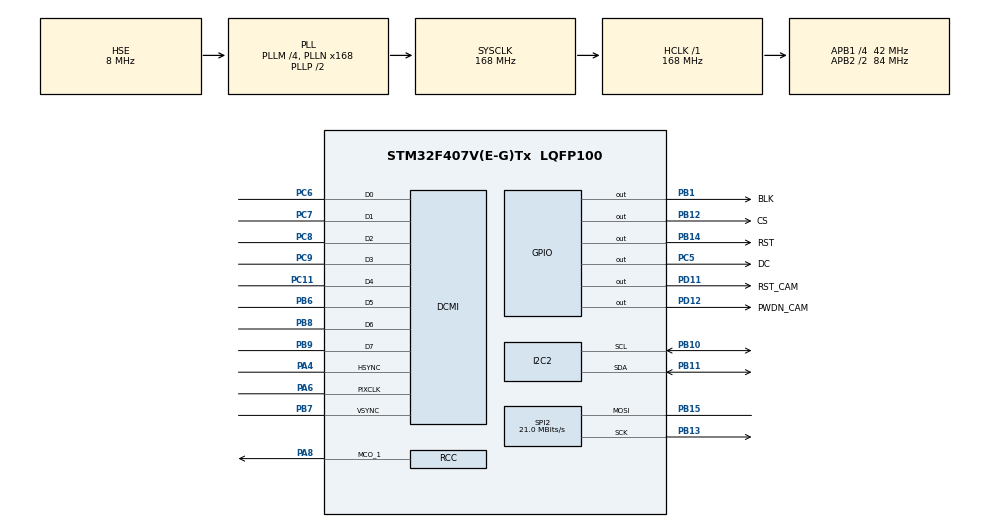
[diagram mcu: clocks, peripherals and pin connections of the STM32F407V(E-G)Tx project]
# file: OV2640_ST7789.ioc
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DCMI.PCKPolarity=DCMI_PCKPOLARITY_RISING
Dma.DCMI.0.Direction=DMA_PERIPH_TO_MEMORY
Dma.DCMI.0.FIFOMode=DMA_FIFOMODE_DISABLE
Dma.DCMI.0.Instance=DMA2_Stream1
Dma.DCMI.0.MemDataAlignment=DMA_MDATAALIGN_WORD
Dma.DCMI.0.MemInc=DMA_MINC_ENABLE
Dma.DCMI.0.Mode=DMA_NORMAL
Dma.DCMI.0.PeriphDataAlignment=DMA_PDATAALIGN_WORD
Dma.DCMI.0.PeriphInc=DMA_PINC_DISABLE
Dma.DCMI.0.Priority=DMA_PRIORITY_LOW
Dma.Request0=DCMI
Mcu.Family=STM32F4
Mcu.Name=STM32F407V(E-G)Tx
Mcu.Package=LQFP100
NVIC.DCMI_IRQn=true\:0\:0\:false\:false\:true\:true\:true\:true
NVIC.DMA2_Stream1_IRQn=true\:0\:0\:false\:false\:true\:false\:true\:true
NVIC.PriorityGroup=NVIC_PRIORITYGROUP_4
PA13.Mode=Serial_Wire
PA13.Signal=SYS_JTMS-SWDIO
PA14.Mode=Serial_Wire
PA14.Signal=SYS_JTCK-SWCLK
PA4.GPIO_PuPd=GPIO_PULLUP
PA4.GPIO_Speed=GPIO_SPEED_FREQ_VERY_HIGH
PA4.Mode=Slave_8_bits_External_Synchro
PA4.Signal=DCMI_HSYNC
PA6.GPIO_PuPd=GPIO_PULLUP
PA6.GPIO_Speed=GPIO_SPEED_FREQ_VERY_HIGH
PA6.Mode=Slave_8_bits_External_Synchro
PA6.Signal=DCMI_PIXCLK
PA8.GPIO_Speed=GPIO_SPEED_FREQ_VERY_HIGH
PA8.Mode=Clock-out-1
PA8.Signal=RCC_MCO_1
PB1.GPIO_Label=BLK
PB1.GPIO_Speed=GPIO_SPEED_FREQ_VERY_HIGH
PB1.PinState=GPIO_PIN_SET
PB1.Signal=GPIO_Output
PB10.GPIO_Pu=GPIO_PULLUP
PB10.Mode=I2C
PB10.Signal=I2C2_SCL
PB11.GPIO_Pu=GPIO_PULLUP
PB11.Mode=I2C
PB11.Signal=I2C2_SDA
PB12.GPIO_Label=CS
PB12.GPIO_Speed=GPIO_SPEED_FREQ_VERY_HIGH
PB12.PinState=GPIO_PIN_SET
PB12.Signal=GPIO_Output
PB13.Mode=Simplex_Bidirectional_Master
PB13.Signal=SPI2_SCK
PB14.GPIO_Label=RST
PB14.GPIO_Speed=GPIO_SPEED_FREQ_VERY_HIGH
PB14.Signal=GPIO_Output
PB15.Mode=Simplex_Bidirectional_Master
PB15.Signal=SPI2_MOSI
PB6.GPIO_PuPd=GPIO_PULLUP
PB6.GPIO_Speed=GPIO_SPEED_FREQ_VERY_HIGH
PB6.Mode=Slave_8_bits_External_Synchro
PB6.Signal=DCMI_D5
PB7.GPIO_PuPd=GPIO_PULLUP
PB7.GPIO_Speed=GPIO_SPEED_FREQ_VERY_HIGH
PB7.Mode=Slave_8_bits_External_Synchro
PB7.Signal=DCMI_VSYNC
PB8.GPIO_PuPd=GPIO_PULLUP
PB8.GPIO_Speed=GPIO_SPEED_FREQ_VERY_HIGH
PB8.Mode=Slave_8_bits_External_Synchro
PB8.Signal=DCMI_D6
PB9.GPIO_PuPd=GPIO_PULLUP
PB9.GPIO_Speed=GPIO_SPEED_FREQ_VERY_HIGH
PB9.Mode=Slave_8_bits_External_Synchro
PB9.Signal=DCMI_D7
PC11.GPIO_PuPd=GPIO_PULLUP
PC11.GPIO_Speed=GPIO_SPEED_FREQ_VERY_HIGH
PC11.Mode=Slave_8_bits_External_Synchro
PC11.Signal=DCMI_D4
PC5.GPIO_Label=DC
PC5.GPIO_Speed=GPIO_SPEED_FREQ_VERY_HIGH
PC5.Signal=GPIO_Output
PC6.GPIO_PuPd=GPIO_PULLUP
PC6.GPIO_Speed=GPIO_SPEED_FREQ_VERY_HIGH
PC6.Mode=Slave_8_bits_External_Synchro
PC6.Signal=DCMI_D0
PC7.GPIO_PuPd=GPIO_PULLUP
PC7.GPIO_Speed=GPIO_SPEED_FREQ_VERY_HIGH
PC7.Mode=Slave_8_bits_External_Synchro
PC7.Signal=DCMI_D1
PC8.GPIO_PuPd=GPIO_PULLUP
PC8.GPIO_Speed=GPIO_SPEED_FREQ_VERY_HIGH
PC8.Mode=Slave_8_bits_External_Synchro
PC8.Signal=DCMI_D2
PC9.GPIO_PuPd=GPIO_PULLUP
PC9.GPIO_Speed=GPIO_SPEED_FREQ_VERY_HIGH
PC9.Mode=Slave_8_bits_External_Synchro
PC9.Signal=DCMI_D3
PD11.GPIO_Label=RST_CAM
PD11.GPIO_PuPd=GPIO_PULLUP
PD11.GPIO_Speed=GPIO_SPEED_FREQ_VERY_HIGH
PD11.PinState=GPIO_PIN_SET
PD11.Signal=GPIO_Output
PD12.GPIO_Label=PWDN_CAM
PD12.GPIO_Speed=GPIO_SPEED_FREQ_VERY_HIGH
PD12.PinState=GPIO_PIN_SET
PD12.Signal=GPIO_Output
PH0-OSC_IN.Mode=HSE-External-Oscillator
PH0-OSC_IN.Signal=RCC_OSC_IN
PH1-OSC_OUT.Mode=HSE-External-Oscillator
PH1-OSC_OUT.Signal=RCC_OSC_OUT
ProjectManager.HeapSize=0x200
ProjectManager.StackSize=0x400
ProjectManager.TargetToolchain=STM32CubeIDE
RCC.48MHZClocksFreq_Value=84000000
RCC.AHBFreq_Value=168000000
RCC.APB1CLKDivider=RCC_HCLK_DIV4
RCC.APB1Freq_Value=42000000
RCC.APB1TimFreq_Value=84000000
RCC.APB2CLKDivider=RCC_HCLK_DIV2
RCC.APB2Freq_Value=84000000
RCC.APB2TimFreq_Value=168000000
RCC.CortexFreq_Value=168000000
RCC.HCLKFreq_Value=168000000
RCC.HSE_VALUE=8000000
RCC.HSI_VALUE=16000000
RCC.LSE_VALUE=32768
RCC.PLLM=4
RCC.PLLN=168
RCC.PLLSourceVirtual=RCC_PLLSOURCE_HSE
RCC.RCC_MCO1Source=RCC_MCO1SOURCE_PLLCLK
RCC.RCC_MCODiv1=RCC_MCODIV_4
RCC.SYSCLKFreq_VALUE=168000000
RCC.SYSCLKSource=RCC_SYSCLKSOURCE_PLLCLK
RCC.VCOOutputFreq_Value=336000000
SPI2.BaudRatePrescaler=SPI_BAUDRATEPRESCALER_2
SPI2.CLKPhase=SPI_PHASE_2EDGE
SPI2.CLKPolarity=SPI_POLARITY_HIGH
SPI2.CalculateBaudRate=21.0 MBits/s
SPI2.Direction=SPI_DIRECTION_1LINE
SPI2.Mode=SPI_MODE_MASTER
SPI2.VirtualType=VM_MASTER
board=custom

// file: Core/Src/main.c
/* USER CODE BEGIN Header */
/**
  ******************************************************************************
  * @file           : main.c
  * @brief          : Main program body
  ******************************************************************************
  * @attention
  *
  * Copyright (c) 2025 STMicroelectronics.
  * All rights reserved.
  *
  * This software is licensed under terms that can be found in the LICENSE file
  * in the root directory of this software component.
  * If no LICENSE file comes with this software, it is provided AS-IS.
  *
  ******************************************************************************
  */
/* USER CODE END Header */
#include "main.h"

/* USER CODE BEGIN Includes */
#include "stdio.h"
#include "Anglas_ST7789.h"
#include "fonts.h"
#include "math.h"
#include "bitmap.h"

#include "common.h"
#include "ov2640.h"
/* USER CODE END Includes */

/* USER CODE BEGIN PD */
#define MAX_PICTURE_BUFF 54400  //320x170
uint16_t pBuffer[MAX_PICTURE_BUFF];
/* USER CODE END PD */

DCMI_HandleTypeDef hdcmi;
DMA_HandleTypeDef hdma_dcmi;

I2C_HandleTypeDef hi2c2;

SPI_HandleTypeDef hspi2;

/* USER CODE BEGIN PV */
uint16_t contInt=0;
float contFloat=0.0;
char buff[32];
/* USER CODE END PV */

void SystemClock_Config(void);
static void MX_GPIO_Init(void);
static void MX_DMA_Init(void);
static void MX_SPI2_Init(void);
static void MX_DCMI_Init(void);
static void MX_I2C2_Init(void);

int main(void)
{

  /* MCU Configuration--------------------------------------------------------*/

  /* Reset of all peripherals, Initializes the Flash interface and the Systick. */
  HAL_Init();

  /* Configure the system clock */
  SystemClock_Config();

  /* Initialize all configured peripherals */
  MX_GPIO_Init();
  MX_DMA_Init();
  MX_SPI2_Init();
  MX_DCMI_Init();
  MX_I2C2_Init();
  /* USER CODE BEGIN 2 */

  ST7789_Init();
  ST7789_rotation(4);
  ST7789_DrawImage(0, 0, 320, 170, blink_320x170);
  HAL_Delay(2000);
  ST7789_FillScreen(ST7789_BLACK);
  ST7789_print(20, 20, RGB565(255, 255, 255) , RGB565(0, 80, 100) , 1, &Font_16x26, 1, "GIOVANNY ANGLAS" );
  ST7789_print(40, 60, RGB565(255, 0, 0) , RGB565(0, 10, 100) , 1, &Font_16x26, 1, "CAMARA OV2640" );
  ov2640_Init(0x60, CAMERA_Monitor);
  HAL_Delay(2000);

  /* USER CODE END 2 */

  /* Infinite loop */
  /* USER CODE BEGIN WHILE */
  while (1)
  {
	    HAL_DCMI_Start_DMA(&hdcmi, DCMI_MODE_SNAPSHOT, (uint32_t)pBuffer, MAX_PICTURE_BUFF/2);
	    while (HAL_DCMI_GetState(&hdcmi) != HAL_DCMI_STATE_READY);
	    ST7789_DrawImage(0, 0, 320, 170, pBuffer);

    /* USER CODE END WHILE */

  }
}

void SystemClock_Config(void)
{
  RCC_OscInitTypeDef RCC_OscInitStruct = {0};
  RCC_ClkInitTypeDef RCC_ClkInitStruct = {0};

  /** Configure the main internal regulator output voltage
  */
  __HAL_RCC_PWR_CLK_ENABLE();
  __HAL_PWR_VOLTAGESCALING_CONFIG(PWR_REGULATOR_VOLTAGE_SCALE1);

  /** Initializes the RCC Oscillators according to the specified parameters
  * in the RCC_OscInitTypeDef structure.
  */
  RCC_OscInitStruct.OscillatorType = RCC_OSCILLATORTYPE_HSE;
  RCC_OscInitStruct.HSEState = RCC_HSE_ON;
  RCC_OscInitStruct.PLL.PLLState = RCC_PLL_ON;
  RCC_OscInitStruct.PLL.PLLSource = RCC_PLLSOURCE_HSE;
  RCC_OscInitStruct.PLL.PLLM = 4;
  RCC_OscInitStruct.PLL.PLLN = 168;
  RCC_OscInitStruct.PLL.PLLP = RCC_PLLP_DIV2;
  RCC_OscInitStruct.PLL.PLLQ = 4;
  if (HAL_RCC_OscConfig(&RCC_OscInitStruct) != HAL_OK)
  {
    Error_Handler();
  }

  /** Initializes the CPU, AHB and APB buses clocks
  */
  RCC_ClkInitStruct.ClockType = RCC_CLOCKTYPE_HCLK|RCC_CLOCKTYPE_SYSCLK
                              |RCC_CLOCKTYPE_PCLK1|RCC_CLOCKTYPE_PCLK2;
  RCC_ClkInitStruct.SYSCLKSource = RCC_SYSCLKSOURCE_PLLCLK;
  RCC_ClkInitStruct.AHBCLKDivider = RCC_SYSCLK_DIV1;
  RCC_ClkInitStruct.APB1CLKDivider = RCC_HCLK_DIV4;
  RCC_ClkInitStruct.APB2CLKDivider = RCC_HCLK_DIV2;

  if (HAL_RCC_ClockConfig(&RCC_ClkInitStruct, FLASH_LATENCY_5) != HAL_OK)
  {
    Error_Handler();
  }
  HAL_RCC_MCOConfig(RCC_MCO1, RCC_MCO1SOURCE_PLLCLK, RCC_MCODIV_4);
}

static void MX_DCMI_Init(void)
{

  hdcmi.Instance = DCMI;
  hdcmi.Init.SynchroMode = DCMI_SYNCHRO_HARDWARE;
  hdcmi.Init.PCKPolarity = DCMI_PCKPOLARITY_RISING;
  hdcmi.Init.VSPolarity = DCMI_VSPOLARITY_LOW;
  hdcmi.Init.HSPolarity = DCMI_HSPOLARITY_LOW;
  hdcmi.Init.CaptureRate = DCMI_CR_ALL_FRAME;
  hdcmi.Init.ExtendedDataMode = DCMI_EXTEND_DATA_8B;
  hdcmi.Init.JPEGMode = DCMI_JPEG_DISABLE;
  if (HAL_DCMI_Init(&hdcmi) != HAL_OK)
  {
    Error_Handler();
  }

}

static void MX_I2C2_Init(void)
{

  hi2c2.Instance = I2C2;
  hi2c2.Init.ClockSpeed = 100000;
  hi2c2.Init.DutyCycle = I2C_DUTYCYCLE_2;
  hi2c2.Init.OwnAddress1 = 0;
  hi2c2.Init.AddressingMode = I2C_ADDRESSINGMODE_7BIT;
  hi2c2.Init.DualAddressMode = I2C_DUALADDRESS_DISABLE;
  hi2c2.Init.OwnAddress2 = 0;
  hi2c2.Init.GeneralCallMode = I2C_GENERALCALL_DISABLE;
  hi2c2.Init.NoStretchMode = I2C_NOSTRETCH_DISABLE;
  if (HAL_I2C_Init(&hi2c2) != HAL_OK)
  {
    Error_Handler();
  }

}

static void MX_SPI2_Init(void)
{

  /* SPI2 parameter configuration*/
  hspi2.Instance = SPI2;
  hspi2.Init.Mode = SPI_MODE_MASTER;
  hspi2.Init.Direction = SPI_DIRECTION_1LINE;
  hspi2.Init.DataSize = SPI_DATASIZE_8BIT;
  hspi2.Init.CLKPolarity = SPI_POLARITY_HIGH;
  hspi2.Init.CLKPhase = SPI_PHASE_2EDGE;
  hspi2.Init.NSS = SPI_NSS_SOFT;
  hspi2.Init.BaudRatePrescaler = SPI_BAUDRATEPRESCALER_2;
  hspi2.Init.FirstBit = SPI_FIRSTBIT_MSB;
  hspi2.Init.TIMode = SPI_TIMODE_DISABLE;
  hspi2.Init.CRCCalculation = SPI_CRCCALCULATION_DISABLE;
  hspi2.Init.CRCPolynomial = 10;
  if (HAL_SPI_Init(&hspi2) != HAL_OK)
  {
    Error_Handler();
  }

}

static void MX_DMA_Init(void)
{

  /* DMA controller clock enable */
  __HAL_RCC_DMA2_CLK_ENABLE();

  /* DMA interrupt init */
  /* DMA2_Stream1_IRQn interrupt configuration */
  HAL_NVIC_SetPriority(DMA2_Stream1_IRQn, 0, 0);
  HAL_NVIC_EnableIRQ(DMA2_Stream1_IRQn);

}

static void MX_GPIO_Init(void)
{
  GPIO_InitTypeDef GPIO_InitStruct = {0};

  /* GPIO Ports Clock Enable */
  __HAL_RCC_GPIOH_CLK_ENABLE();
  __HAL_RCC_GPIOA_CLK_ENABLE();
  __HAL_RCC_GPIOC_CLK_ENABLE();
  __HAL_RCC_GPIOB_CLK_ENABLE();
  __HAL_RCC_GPIOD_CLK_ENABLE();

  /*Configure GPIO pin Output Level */
  HAL_GPIO_WritePin(DC_GPIO_Port, DC_Pin, GPIO_PIN_RESET);

  /*Configure GPIO pin Output Level */
  HAL_GPIO_WritePin(GPIOB, BLK_Pin|CS_Pin, GPIO_PIN_SET);

  /*Configure GPIO pin Output Level */
  HAL_GPIO_WritePin(RST_GPIO_Port, RST_Pin, GPIO_PIN_RESET);

  /*Configure GPIO pin Output Level */
  HAL_GPIO_WritePin(GPIOD, RST_CAM_Pin|PWDN_CAM_Pin, GPIO_PIN_SET);

  /*Configure GPIO pin : DC_Pin */
  GPIO_InitStruct.Pin = DC_Pin;
  GPIO_InitStruct.Mode = GPIO_MODE_OUTPUT_PP;
  GPIO_InitStruct.Pull = GPIO_NOPULL;
  GPIO_InitStruct.Speed = GPIO_SPEED_FREQ_VERY_HIGH;
  HAL_GPIO_Init(DC_GPIO_Port, &GPIO_InitStruct);

  /*Configure GPIO pins : BLK_Pin CS_Pin RST_Pin */
  GPIO_InitStruct.Pin = BLK_Pin|CS_Pin|RST_Pin;
  GPIO_InitStruct.Mode = GPIO_MODE_OUTPUT_PP;
  GPIO_InitStruct.Pull = GPIO_NOPULL;
  GPIO_InitStruct.Speed = GPIO_SPEED_FREQ_VERY_HIGH;
  HAL_GPIO_Init(GPIOB, &GPIO_InitStruct);

  /*Configure GPIO pin : RST_CAM_Pin */
  GPIO_InitStruct.Pin = RST_CAM_Pin;
  GPIO_InitStruct.Mode = GPIO_MODE_OUTPUT_PP;
  GPIO_InitStruct.Pull = GPIO_PULLUP;
  GPIO_InitStruct.Speed = GPIO_SPEED_FREQ_VERY_HIGH;
  HAL_GPIO_Init(RST_CAM_GPIO_Port, &GPIO_InitStruct);

  /*Configure GPIO pin : PWDN_CAM_Pin */
  GPIO_InitStruct.Pin = PWDN_CAM_Pin;
  GPIO_InitStruct.Mode = GPIO_MODE_OUTPUT_PP;
  GPIO_InitStruct.Pull = GPIO_NOPULL;
  GPIO_InitStruct.Speed = GPIO_SPEED_FREQ_VERY_HIGH;
  HAL_GPIO_Init(PWDN_CAM_GPIO_Port, &GPIO_InitStruct);

  /*Configure GPIO pin : PA8 */
  GPIO_InitStruct.Pin = GPIO_PIN_8;
  GPIO_InitStruct.Mode = GPIO_MODE_AF_PP;
  GPIO_InitStruct.Pull = GPIO_NOPULL;
  GPIO_InitStruct.Speed = GPIO_SPEED_FREQ_VERY_HIGH;
  GPIO_InitStruct.Alternate = GPIO_AF0_MCO;
  HAL_GPIO_Init(GPIOA, &GPIO_InitStruct);

}

void Error_Handler(void)
{
  __disable_irq();
  while (1)
  {
  }
}
